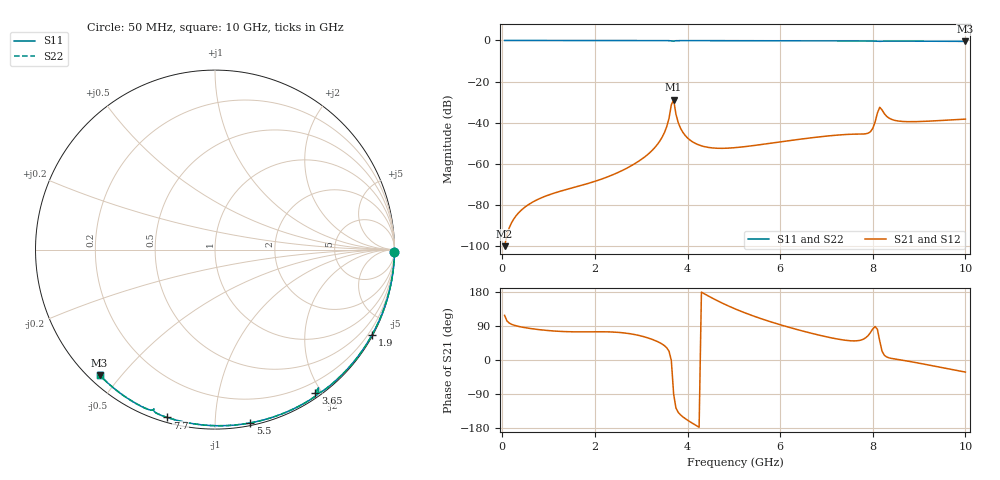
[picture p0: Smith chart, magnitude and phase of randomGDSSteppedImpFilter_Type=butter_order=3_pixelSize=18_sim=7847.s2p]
! freq	dB(S11)	phase(S11)	dB(S12)	phase(S12)
!  dB(S21)	phase(S21)	dB(S22)	phase(S22)
!S-par simulation data
#  GHz  S  DB  R 50
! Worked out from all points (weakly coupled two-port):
!   200 points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, 50 MHz to 10 GHz, reference 50 ohm
!   highest |S21| = -28.91 dB at 3.7 GHz (marker M1); lowest = -100.2 dB at 50 MHz (marker M2)
!   lowest |S11| = -0.5 dB at 10 GHz (marker M3), VSWR 38.59, Z = 1.54 - j21.9 ohm
!   |S11| at or under -10 dB: nowhere
!   |S22| runs from -0.5 to 0.0 dB; largest |S21 - S12| = 0
!   S11 on the Smith chart (normalised r, x): 50 MHz: open; 1.9 GHz: 0.03, -3.92; 3.65 GHz: 0.06, -1.92; 5.5 GHz: 0.02, -1.22; 7.7 GHz: 0.02, -0.75; 10 GHz: 0.03, -0.44
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0.05  -0.00 -0.8  -100.20 117.8  -100.20 117.8  -0.00 -0.8
0.55  -0.01 -8.4  -80.18 84.1  -80.18 84.1  -0.01 -8.4
1.75  -0.03 -26.4  -70.32 74.2  -70.32 74.2  -0.03 -26.4
1.9  -0.04 -28.6  -69.33 74.4  -69.33 74.4  -0.04 -28.6
2.8  -0.05 -41.7  -60.85 68.5  -60.85 68.5  -0.05 -41.7
3.4  -0.07 -50.4  -49.04 45.6  -49.04 45.6  -0.07 -50.4
3.55  -0.08 -52.8  -42.04 32.4  -42.04 32.4  -0.08 -52.8
3.65  -0.22 -55.0  -31.35 -1.2  -31.35 -1.2  -0.22 -55.0
3.7  -0.34 -53.2  -28.91 -89.8  -28.91 -89.8  -0.34 -53.2
3.75  -0.13 -54.2  -35.93 -126.8  -35.93 -126.8  -0.13 -54.2
3.8  -0.10 -55.2  -40.10 -138.3  -40.10 -138.3  -0.10 -55.2
4.05  -0.08 -59.0  -48.47 -162.7  -48.47 -162.7  -0.08 -59.0
4.45  -0.09 -64.6  -52.10 168.8  -52.10 168.8  -0.09 -64.6
5.05  -0.11 -72.6  -52.16 133.7  -52.16 133.7  -0.11 -72.6
5.5  -0.13 -78.5  -50.98 112.8  -50.98 112.8  -0.13 -78.5
6.7  -0.18 -93.7  -47.34 69.8  -47.34 69.8  -0.18 -93.7
7.7  -0.24 -105.9  -45.60 51.4  -45.60 51.4  -0.24 -105.9
7.95  -0.27 -109.0  -44.44 72.5  -44.44 72.5  -0.27 -109.0
8.15  -0.44 -111.0  -32.55 50.3  -32.55 50.3  -0.43 -111.0
8.35  -0.31 -113.2  -37.80 5.7  -37.80 5.7  -0.31 -113.2
8.75  -0.33 -118.0  -39.56 -2.8  -39.56 -2.8  -0.33 -118.0
10  -0.45 -132.6  -38.31 -31.9  -38.31 -31.9  -0.45 -132.6
